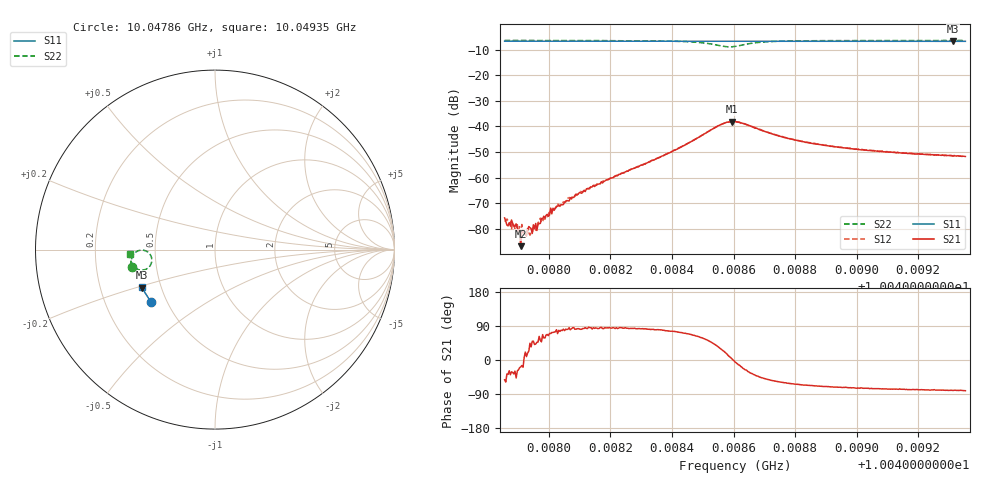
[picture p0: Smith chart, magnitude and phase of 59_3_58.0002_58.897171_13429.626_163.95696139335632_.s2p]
#  HZ  S  RI  R  50.00
! Rohde & Schwarz Vector Network Analyzer
! Rohde-Schwarz,ZNB20-2Port,1311601062101988,3.16
! Created: UTC 3/21/2024, 12:52:55 AM
! freq[Hz]  re:S11  im:S11  re:S21  im:S21  re:S12  im:S12  re:S22  im:S22
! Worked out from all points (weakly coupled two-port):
!   401 points, 10.04786 GHz to 10.04935 GHz, reference 50 ohm
!   highest |S21| = -38.14 dB at 10.04859 GHz (marker M1); lowest = -86.8 dB at 10.04791 GHz (marker M2)
!   lowest |S11| = -6.8 dB at 10.04931 GHz (marker M3), VSWR 2.68, Z = 19.6 - j10.5 ohm
!   |S11| at or under -10 dB: nowhere
!   |S22| runs from -9.0 to -6.5 dB; largest |S21 - S12| = 0.001
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1.0047856e10  -0.3544 -0.2928  9.93e-05 -0.000129  0.000105 -9.7e-05  -0.4646 -0.0989
1.0047867e10  -0.3549 -0.2922  9.03e-05 -7.01e-05  0.000109 -9.46e-05  -0.4645 -0.098
1.0047886e10  -0.3556 -0.2912  9.06e-05 -6.8e-05  8.98e-05 -7.81e-05  -0.4648 -0.0964
1.0047908e10  -0.3565 -0.29  4.36e-05 -1.42e-05  8.39e-05 1.31e-06  -0.4652 -0.0946
1.0047923e10  -0.3572 -0.2891  7.15e-05 2.74e-05  8.21e-05 3.59e-06  -0.4654 -0.0933
1.0047953e10  -0.3584 -0.2875  7.74e-05 6.69e-05  9.62e-05 5.8e-05  -0.4656 -0.0906
1.0047968e10  -0.359 -0.2869  5.87e-05 0.000112  8.18e-05 0.000111  -0.4657 -0.0895
1.0047983e10  -0.3596 -0.2859  9.25e-05 0.00015  4.55e-05 0.00015  -0.4659 -0.0881
1.0048024e10  -0.3612 -0.2837  4.73e-05 0.000265  6.3e-05 0.000267  -0.4663 -0.0846
1.0048107e10  -0.3645 -0.2793  7.56e-05 0.000489  5.05e-05 0.000525  -0.4667 -0.0766
1.0048178e10  -0.3672 -0.2754  0.000105 0.000828  3.42e-05 0.000878  -0.4669 -0.0689
1.0048358e10  -0.3741 -0.2655  0.000439 0.00242  0.000313 0.00244  -0.4622 -0.0426
1.0048444e10  -0.3771 -0.2604  0.00145 0.00413  0.00122 0.00422  -0.4503 -0.0219
1.004853e10  -0.3797 -0.2553  0.00609 0.00625  0.00574 0.00662  -0.403 -0.00271
1.0048567e10  -0.3806 -0.2532  0.0104 0.00461  0.0101 0.00519  -0.3643 -0.0233
1.0048594e10  -0.3812 -0.2522  0.0124 0.000857  0.0122 0.0017  -0.3517 -0.0598
1.0048605e10  -0.3817 -0.2517  0.0123 -0.00108  0.0122 -7.74e-05  -0.3549 -0.0765
1.0048698e10  -0.3854 -0.2471  0.00534 -0.00604  0.0058 -0.00573  -0.4293 -0.1104
1.0048856e10  -0.3911 -0.2382  0.00178 -0.00428  0.00204 -0.00427  -0.4628 -0.078
1.0049107e10  -0.3992 -0.2234  0.000723 -0.00307  0.000923 -0.00303  -0.4717 -0.0478
1.0049312e10  -0.4052 -0.2112  0.000444 -0.0026  0.000614 -0.00259  -0.4738 -0.0297
1.0049354e10  -0.4066 -0.2088  0.000402 -0.00255  0.000567 -0.00255  -0.474 -0.0262
